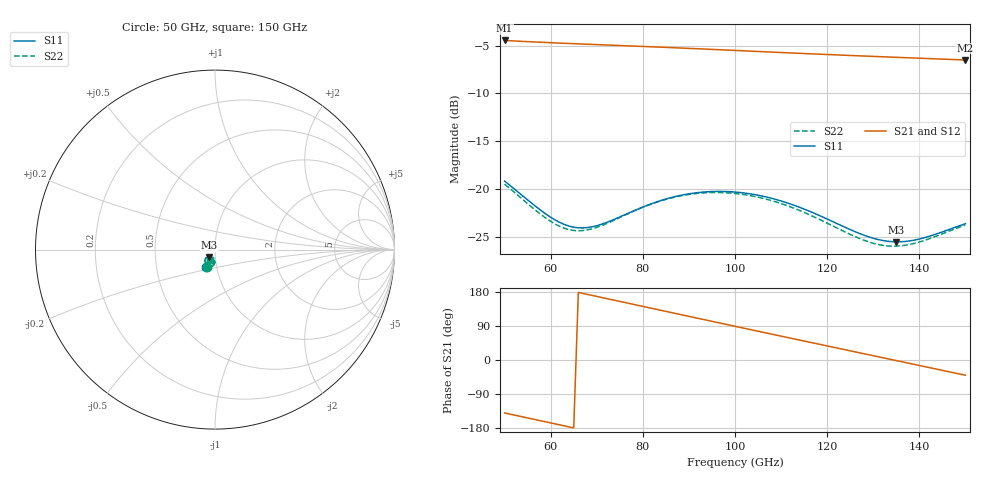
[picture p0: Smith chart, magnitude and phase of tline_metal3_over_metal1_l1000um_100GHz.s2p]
#  GHZ S DB R 50
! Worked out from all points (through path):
!   101 points, 50 GHz to 150 GHz, reference 50 ohm
!   highest |S21| = -4.47 dB at 50 GHz (marker M1); lowest = -6.5 dB at 150 GHz (marker M2)
!   group delay of S21, straight-line fit = 7.24 ps
!   lowest |S11| = -25.5 dB at 135 GHz (marker M3), VSWR 1.11, Z = 46.8 - j4 ohm
!   |S11| at or under -10 dB: start of sweep to end of sweep
!   |S22| runs from -26.0 to -19.5 dB; largest |S21 - S12| = 6.4e-14
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50  -19.16 -115.9  -4.47 -139.8  -4.47 -139.8  -19.47 -115.2
56  -21.51 -117.5  -4.62 -155.5  -4.62 -155.5  -21.92 -116.1
61  -23.22 -112.7  -4.73 -168.6  -4.73 -168.6  -23.65 -110.3
64  -23.86 -107.4  -4.79 -176.5  -4.79 -176.5  -24.23 -104.3
67  -24.04 -101.5  -4.85 175.6  -4.85 175.6  -24.32 -98.0
70  -23.81 -96.5  -4.91 167.7  -4.91 167.7  -23.99 -93.0
75  -22.90 -92.2  -5.00 154.6  -5.00 154.6  -22.96 -89.2
79  -22.06 -92.4  -5.08 144.1  -5.08 144.1  -22.09 -89.9
84  -21.17 -96.0  -5.18 130.9  -5.18 130.9  -21.21 -94.0
88  -20.67 -100.4  -5.26 120.4  -5.26 120.4  -20.72 -98.8
92  -20.35 -105.7  -5.34 109.9  -5.34 109.9  -20.43 -104.3
96  -20.23 -111.4  -5.43 99.5  -5.43 99.5  -20.35 -110.2
100  -20.30 -117.1  -5.51 89.0  -5.51 89.0  -20.45 -116.1
108  -20.96 -127.8  -5.69 68.2  -5.69 68.2  -21.20 -127.0
117  -22.47 -136.1  -5.88 44.9  -5.88 44.9  -22.85 -135.3
122  -23.56 -137.6  -5.98 32.0  -5.98 32.0  -24.02 -136.4
126  -24.42 -136.4  -6.06 21.6  -6.06 21.6  -24.94 -134.7
130  -25.12 -133.0  -6.14 11.3  -6.14 11.3  -25.65 -130.5
134  -25.48 -127.9  -6.21 1.0  -6.21 1.0  -25.95 -124.7
135  -25.50 -126.5  -6.23 -1.5  -6.23 -1.5  -25.95 -123.2
142  -24.94 -118.6  -6.36 -19.6  -6.36 -19.6  -25.20 -115.0
150  -23.60 -116.6  -6.51 -40.2  -6.51 -40.2  -23.73 -113.8
